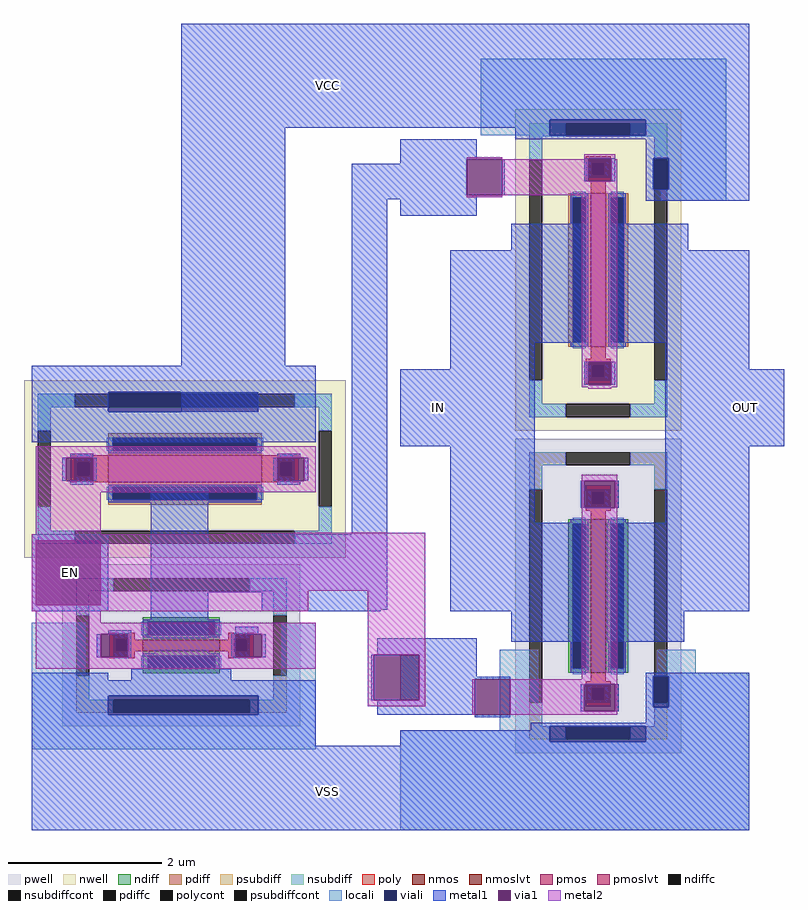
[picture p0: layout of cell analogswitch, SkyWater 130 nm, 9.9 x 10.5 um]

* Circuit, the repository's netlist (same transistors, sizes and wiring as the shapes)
** sch_path: /home/ttuser/wowa/xschem/analogswitch.sch
.subckt analogswitch EN IN OUT VCC VSS
*.PININFO EN:I IN:I OUT:O VCC:I VSS:I
x2 OUT IN EN_N EN VSS VCC passgate
x1 EN EN_N VCC VSS lvtnot
.ends

* expanding   symbol:  /home/ttuser/wowa/xschem/passgate.sym # of pins=6
** sym_path: /home/ttuser/wowa/xschem/passgate.sym
** sch_path: /home/ttuser/wowa/xschem/passgate.sch
.subckt passgate Z A GP GN VSSBPIN VCCBPIN
*.PININFO A:B Z:B GP:I GN:I VCCBPIN:I VSSBPIN:I
XM1 Z GN A VSSBPIN sky130_fd_pr__nfet_01v8 L=0.2 W=2 nf=1 m=1
XM2 Z GP A VCCBPIN sky130_fd_pr__pfet_01v8 L=0.2 W=2 nf=1 m=1
.ends


* expanding   symbol:  /home/ttuser/wowa/xschem/lvtnot.sym # of pins=4
** sym_path: /home/ttuser/wowa/xschem/lvtnot.sym
** sch_path: /home/ttuser/wowa/xschem/lvtnot.sch
.subckt lvtnot a y VCCPIN VSSPIN
*.PININFO y:O a:I VCCPIN:I VSSPIN:I
XM2 y a VCCPIN VCCPIN sky130_fd_pr__pfet_01v8_lvt L=0.35 W=2 nf=1 m=1
XM1 y a VSSPIN VSSPIN sky130_fd_pr__nfet_01v8_lvt L=0.15 W=1 nf=1 m=1
.ends

.end

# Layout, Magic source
magic
tech sky130A
magscale 1 2
<< metal1 >>
rect 5630 5350 6440 5620
rect 5630 4575 5900 5350
rect 6074 5164 6332 5256
rect 6074 4290 6166 5164
rect 6200 4520 6400 4720
rect 7000 4520 7200 4720
rect 5240 4090 5440 4290
rect 5840 4094 6166 4290
rect 5840 4090 6150 4094
rect 6140 3977 6240 4020
rect 6125 3858 6131 3977
rect 6250 3858 6357 3977
rect 6140 3820 6240 3858
rect 5240 3520 6400 3740
<< via1 >>
rect 6131 3858 6250 3977
<< metal2 >>
rect 5745 4290 6266 4295
rect 5240 4144 6266 4290
rect 5240 4090 5960 4144
rect 6115 3977 6266 4144
rect 6115 3858 6131 3977
rect 6250 3858 6266 3977
rect 6115 3842 6266 3858
use lvtnot  x1
transform 1 0 3820 0 1 3390
box 1400 340 2238 1340
use passgate  x2
transform 1 0 4000 0 1 4220
box 2200 -700 3200 1400
<< labels >>
flabel metal1 6200 4520 6400 4720 0 FreeSans 1280 0 0 0 IN
port 1 nsew
flabel metal1 7000 4520 7200 4720 0 FreeSans 1280 0 0 0 OUT
port 2 nsew
flabel metal1 5240 4090 5440 4290 0 FreeSans 1280 0 0 0 EN
port 0 nsew
flabel metal1 5910 5360 6110 5560 0 FreeSans 1280 0 0 0 VCC
port 3 nsew
flabel metal1 5910 3520 6110 3720 0 FreeSans 1280 0 0 0 VSS
port 4 nsew
<< end >>

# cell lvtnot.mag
magic
tech sky130A
magscale 1 2
<< pwell >>
rect 1740 560 1880 600
rect 1710 550 1880 560
rect 1680 500 1880 550
rect 1680 480 1740 500
<< locali >>
rect 1420 460 1560 670
rect 1420 430 1620 460
rect 2070 460 2160 670
rect 2010 430 2160 460
rect 1420 340 2160 430
<< viali >>
rect 1620 1220 2010 1270
rect 1620 430 2010 480
<< metal1 >>
rect 1420 1270 2160 1340
rect 1420 1220 1620 1270
rect 2010 1220 2160 1270
rect 1420 1140 2160 1220
rect 1520 1100 1580 1110
rect 2060 1100 2120 1110
rect 1500 1040 1510 1100
rect 1580 1040 1590 1100
rect 2050 1040 2060 1100
rect 2130 1040 2140 1100
rect 1520 1030 1580 1040
rect 2060 1030 2120 1040
rect 1420 885 1620 900
rect 1420 715 1430 885
rect 1600 715 1620 885
rect 1420 700 1620 715
rect 1730 880 1880 1030
rect 2020 880 2220 900
rect 1730 750 2220 880
rect 1620 640 1680 650
rect 1590 580 1600 640
rect 1670 580 1680 640
rect 1730 630 1880 750
rect 2020 700 2220 750
rect 1950 640 2010 660
rect 1740 580 1880 600
rect 1940 580 1950 640
rect 2020 580 2030 640
rect 1720 560 1900 580
rect 1710 550 1900 560
rect 1420 520 1620 540
rect 1680 520 1940 550
rect 1420 480 2160 520
rect 1420 430 1620 480
rect 2010 430 2160 480
rect 1420 340 2160 430
<< via1 >>
rect 1510 1040 1580 1100
rect 2060 1040 2130 1100
rect 1430 715 1600 885
rect 1600 580 1670 640
rect 1950 580 2020 640
<< metal2 >>
rect 1430 1100 2160 1130
rect 1430 1040 1510 1100
rect 1580 1040 2060 1100
rect 2130 1040 2160 1100
rect 1430 1010 2160 1040
rect 1430 885 1600 1010
rect 1430 670 1600 715
rect 1430 640 2160 670
rect 1430 580 1600 640
rect 1670 580 1950 640
rect 2020 580 2160 640
rect 1430 550 2160 580
use sky130_fd_pr__nfet_01v8_lvt_648S5X  XM1
transform 0 -1 1810 1 0 611
box -211 -310 211 310
use sky130_fd_pr__pfet_01v8_lvt_4QFWD3  XM2
transform 0 1 1819 -1 0 1071
box -231 -419 231 419
<< labels >>
flabel metal1 1420 700 1620 900 0 FreeSans 1280 0 0 0 a
port 0 nsew
flabel metal1 2020 700 2220 900 0 FreeSans 1280 0 0 0 y
port 1 nsew
flabel metal1 1420 1140 1620 1340 0 FreeSans 1280 0 0 0 VCCPIN
port 2 nsew
flabel metal1 1420 340 1620 540 0 FreeSans 1280 0 0 0 VSSPIN
port 3 nsew
<< end >>

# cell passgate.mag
magic
tech sky130A
magscale 1 2
<< locali >>
rect 2410 1150 3050 1310
rect 2410 1110 2590 1150
rect 2840 1110 3050 1150
rect 2880 1050 3050 1110
rect 2900 970 3050 1050
rect 2880 940 3050 970
rect 2460 -440 2560 -230
rect 2870 -290 2970 -230
rect 2870 -300 3110 -290
rect 2900 -380 3110 -300
rect 2200 -470 2590 -440
rect 2870 -440 3110 -380
rect 2840 -470 3110 -440
rect 2200 -700 3110 -470
<< viali >>
rect 2590 1110 2840 1150
rect 2860 970 2900 1050
rect 2860 -380 2900 -300
rect 2590 -470 2840 -430
<< metal1 >>
rect 2200 1150 3110 1400
rect 2200 1130 2590 1150
rect 2500 1110 2590 1130
rect 2840 1110 3110 1150
rect 2500 1100 3110 1110
rect 2200 1047 2400 1100
rect 2840 1050 3110 1100
rect 2200 954 2373 1047
rect 2466 954 2472 1047
rect 2680 990 2690 1050
rect 2750 990 2760 1050
rect 2840 970 2860 1050
rect 2900 970 3110 1050
rect 2200 900 2400 954
rect 2840 940 3110 970
rect 2490 810 2690 880
rect 2330 570 2690 810
rect 2750 810 2950 880
rect 2750 570 3110 810
rect 2330 500 2550 570
rect 2200 300 2550 500
rect 2680 460 2690 520
rect 2750 460 2760 520
rect 2890 500 3110 570
rect 2330 100 2550 300
rect 2890 300 3200 500
rect 2670 140 2680 210
rect 2760 140 2770 210
rect 2890 100 3110 300
rect 2330 -130 2690 100
rect 2200 -301 2400 -200
rect 2490 -210 2690 -130
rect 2740 -130 3110 100
rect 2740 -210 2940 -130
rect 2840 -300 3110 -290
rect 2200 -307 2487 -301
rect 2200 -400 2394 -307
rect 2670 -390 2680 -320
rect 2760 -390 2770 -320
rect 2840 -380 2860 -300
rect 2900 -380 3110 -300
rect 2394 -406 2487 -400
rect 2840 -420 3110 -380
rect 2540 -430 3110 -420
rect 2540 -440 2590 -430
rect 2200 -470 2590 -440
rect 2840 -470 3110 -430
rect 2200 -700 3110 -470
<< via1 >>
rect 2373 954 2466 1047
rect 2690 990 2750 1050
rect 2690 460 2750 520
rect 2680 140 2760 210
rect 2394 -400 2487 -307
rect 2680 -390 2760 -320
<< metal2 >>
rect 2373 1047 2466 1053
rect 2680 1050 2760 1060
rect 2680 1047 2690 1050
rect 2466 990 2690 1047
rect 2750 1047 2760 1050
rect 2750 990 2766 1047
rect 2466 954 2766 990
rect 2373 948 2466 954
rect 2673 520 2766 954
rect 2673 460 2690 520
rect 2750 460 2766 520
rect 2673 454 2766 460
rect 2690 450 2750 454
rect 2673 210 2766 226
rect 2673 140 2680 210
rect 2760 140 2766 210
rect 2673 -307 2766 140
rect 2388 -400 2394 -307
rect 2487 -320 2766 -307
rect 2487 -390 2680 -320
rect 2760 -390 2766 -320
rect 2487 -400 2766 -390
use sky130_fd_pr__nfet_01v8_Q7AWK3  XM1
transform 1 0 2716 0 1 -90
box -216 -410 216 410
use sky130_fd_pr__pfet_01v8_SKB8XJ  XM2
transform -1 0 2716 0 -1 759
box -216 -419 216 419
<< labels >>
flabel metal1 2200 -400 2400 -200 0 FreeSans 1280 0 0 0 GN
port 3 nsew
flabel metal1 3000 300 3200 500 0 FreeSans 1280 0 0 0 Z
port 1 nsew
flabel metal1 2200 300 2400 500 0 FreeSans 1280 0 0 0 A
port 0 nsew
flabel metal1 2200 900 2400 1100 0 FreeSans 1280 0 0 0 GP
port 2 nsew
flabel locali 2600 -700 2800 -500 0 FreeSans 1280 0 0 0 VSSBPIN
port 5 nsew
flabel metal1 2600 1200 2800 1400 0 FreeSans 1280 0 0 0 VCCBPIN
port 4 nsew
<< end >>

# cell sky130_fd_pr__nfet_01v8_Q7AWK3: kit device sky130_fd_pr__nfet_01v8, w 2.0 l 0.2 m 1 nf 1 diffcov 100 polycov 100 guard 1 glc 1 grc 1 gtc 1 gbc 1 tbcov 100 rlcov 100 topc 1 botc 1 poverlap 0 doverlap 1 lmin 0.15 wmin 0.42 compatible {sky130_fd_pr__nfet_01v8 sky130_fd_pr__nfet_01v8_lvt sky130_fd_bs_flash__special_sonosfet_star sky130_fd_pr__nfet_g5v0d10v5 sky130_fd_pr__nfet_05v0_nvt sky130_fd_pr__nfet_03v3_nvt} full_metal 1 viasrc 100 viadrn 100 viagate 100 viagb 0 viagr 0 viagl 0 viagt 0

# cell sky130_fd_pr__pfet_01v8_SKB8XJ: kit device sky130_fd_pr__pfet_01v8, w 2.0 l 0.2 m 1 nf 1 diffcov 100 polycov 100 guard 1 glc 1 grc 1 gtc 1 gbc 1 tbcov 100 rlcov 100 topc 1 botc 1 poverlap 0 doverlap 1 lmin 0.15 wmin 0.42 compatible {sky130_fd_pr__pfet_01v8 sky130_fd_pr__pfet_01v8_lvt sky130_fd_pr__pfet_01v8_hvt sky130_fd_pr__pfet_g5v0d10v5} full_metal 1 viasrc 100 viadrn 100 viagate 100 viagb 0 viagr 0 viagl 0 viagt 0

# cell sky130_fd_pr__nfet_01v8_lvt_648S5X: kit device sky130_fd_pr__nfet_01v8_lvt, w 1.0 l 0.15 m 1 nf 1 diffcov 100 polycov 100 guard 1 glc 1 grc 1 gtc 1 gbc 1 tbcov 100 rlcov 100 topc 1 botc 1 poverlap 0 doverlap 1 lmin 0.15 wmin 0.42 compatible {sky130_fd_pr__nfet_01v8 sky130_fd_pr__nfet_01v8_lvt sky130_fd_bs_flash__special_sonosfet_star sky130_fd_pr__nfet_g5v0d10v5 sky130_fd_pr__nfet_05v0_nvt sky130_fd_pr__nfet_03v3_nvt} full_metal 1 viasrc 100 viadrn 100 viagate 100 viagb 0 viagr 0 viagl 0 viagt 0

# cell sky130_fd_pr__pfet_01v8_lvt_4QFWD3: kit device sky130_fd_pr__pfet_01v8_lvt, w 2.0 l 0.35 m 1 nf 1 diffcov 100 polycov 100 guard 1 glc 1 grc 1 gtc 1 gbc 1 tbcov 100 rlcov 100 topc 1 botc 1 poverlap 0 doverlap 1 lmin 0.35 wmin 0.42 compatible {sky130_fd_pr__pfet_01v8 sky130_fd_pr__pfet_01v8_lvt sky130_fd_pr__pfet_01v8_hvt sky130_fd_pr__pfet_g5v0d10v5} full_metal 1 viasrc 100 viadrn 100 viagate 100 viagb 0 viagr 0 viagl 0 viagt 0
